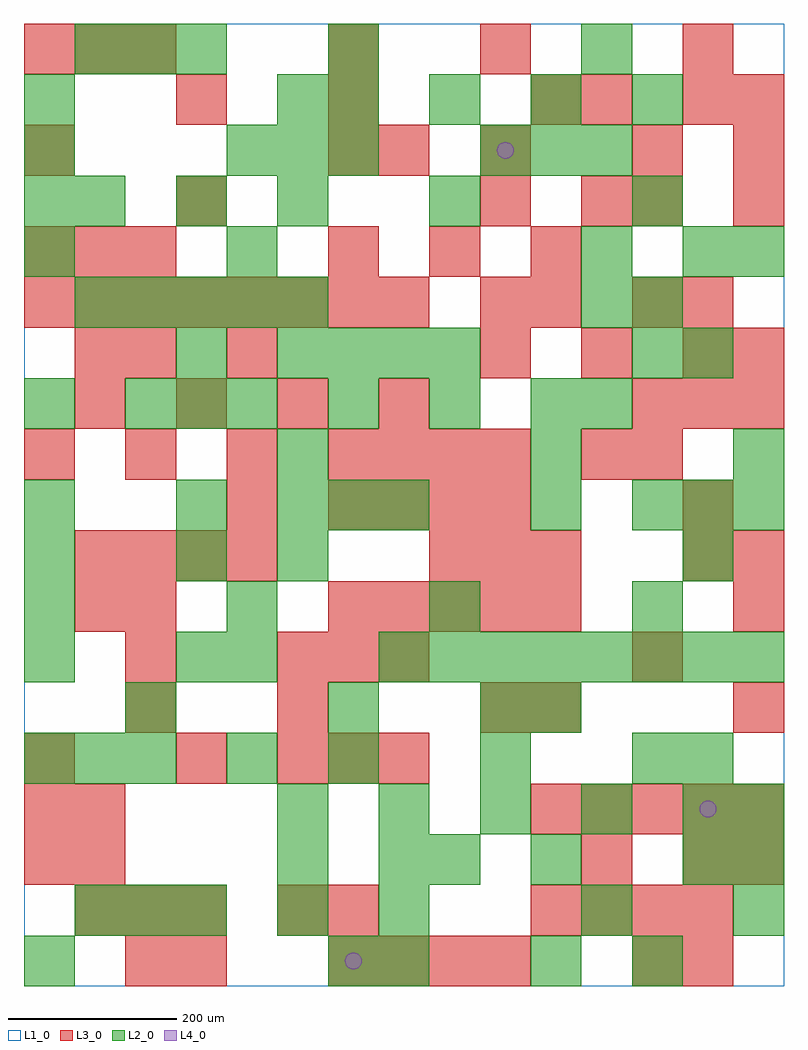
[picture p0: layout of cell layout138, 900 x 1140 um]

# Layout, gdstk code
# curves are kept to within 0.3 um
import gdstk
lib = gdstk.Library(unit=1e-6, precision=1e-09)
def R(c, l, rs):  # rectangles x0, y0, x1, y1
    for r in rs: c.add(gdstk.rectangle(r[:2], r[2:], *l))
def A(c, l, x, y, w, h, nx, ny, dx, dy):  # array of equal rectangles
    R(c, l, [(x+i*dx, y+j*dy, x+i*dx+w, y+j*dy+h) for i in range(nx) for j in range(ny)])
def P(c, l, *ps):  # polygons
    for p in ps: c.add(gdstk.Polygon(p, *l))
L1_0 = (1, 0)
L2_0 = (2, 0)
L3_0 = (3, 0)
L4_0 = (4, 0)

layout138 = lib.new_cell('layout138')
R(layout138, L1_0, [(0,0,900,1140)])
A(layout138, L2_0, 420, 0, 60, 60, 1, 3, 0, 60)
A(layout138, L2_0, 60, 60, 60, 60, 3, 2, 60, 1020)
A(layout138, L2_0, 840, 60, 60, 60, 1, 3, 0, 60)
A(layout138, L2_0, 300, 180, 60, 60, 5, 1, 120, 0)
A(layout138, L2_0, 0, 240, 60, 60, 3, 1, 60, 0)
A(layout138, L2_0, 360, 240, 60, 60, 3, 1, 180, 0)
A(layout138, L2_0, 780, 240, 60, 60, 1, 3, 0, 240)
A(layout138, L2_0, 420, 360, 60, 60, 8, 1, 60, 0)
A(layout138, L2_0, 0, 420, 60, 60, 4, 1, 240, 0)
A(layout138, L2_0, 300, 540, 60, 60, 3, 1, 60, 0)
A(layout138, L2_0, 720, 540, 60, 60, 3, 1, 60, 0)
A(layout138, L2_0, 120, 660, 60, 60, 3, 1, 60, 0)
A(layout138, L2_0, 360, 660, 60, 60, 3, 1, 120, 0)
A(layout138, L2_0, 300, 720, 60, 60, 4, 1, 60, 0)
A(layout138, L2_0, 60, 780, 60, 60, 5, 1, 60, 0)
A(layout138, L2_0, 0, 840, 60, 60, 1, 4, 0, 60)
A(layout138, L2_0, 60, 900, 60, 60, 3, 1, 120, 0)
A(layout138, L2_0, 240, 960, 60, 60, 3, 1, 60, 0)
A(layout138, L2_0, 540, 960, 60, 60, 3, 1, 60, 0)
A(layout138, L2_0, 360, 1020, 60, 60, 4, 1, 120, 0)
R(layout138, L2_0, [(0,0,60,60), (360,0,420,60), (600,0,660,60), (720,0,780,60), (300,60,360,120), (660,60,720,120), (300,120,360,180), (480,120,540,180), (600,120,660,180), (780,120,840,180), (240,240,300,300), (120,300,180,360), (360,300,420,360), (540,300,600,360), (600,300,660,360), (0,360,60,420), (180,360,240,420), (240,360,300,420), (0,480,60,540), (180,480,240,540), (300,480,360,540), (0,540,60,600), (180,540,240,600), (600,540,660,600), (300,600,360,660), (600,600,660,660), (840,600,900,660), (0,660,60,720), (660,660,720,720), (180,720,240,780), (720,720,780,780), (660,780,720,840), (720,780,780,840), (240,840,300,900), (660,840,720,900), (780,840,840,900), (840,840,900,900), (480,900,540,960), (720,900,780,960), (300,1020,360,1080), (360,1080,420,1140), (660,1080,720,1140)])
A(layout138, L3_0, 360, 0, 60, 60, 4, 2, 60, 540)
A(layout138, L3_0, 60, 60, 60, 60, 3, 1, 60, 0)
A(layout138, L3_0, 600, 60, 60, 60, 4, 1, 60, 0)
A(layout138, L3_0, 0, 120, 60, 60, 1, 3, 0, 60)
A(layout138, L3_0, 600, 180, 60, 60, 5, 1, 60, 0)
A(layout138, L3_0, 300, 240, 60, 60, 3, 2, 60, 120)
A(layout138, L3_0, 120, 300, 60, 60, 1, 3, 0, 60)
A(layout138, L3_0, 360, 420, 60, 60, 5, 1, 60, 0)
A(layout138, L3_0, 60, 480, 60, 60, 4, 1, 60, 0)
A(layout138, L3_0, 480, 480, 60, 60, 3, 1, 60, 0)
A(layout138, L3_0, 780, 540, 60, 60, 1, 3, 0, 240)
A(layout138, L3_0, 0, 600, 60, 60, 4, 1, 120, 0)
A(layout138, L3_0, 420, 600, 60, 60, 3, 1, 60, 0)
A(layout138, L3_0, 60, 660, 60, 60, 4, 1, 120, 0)
A(layout138, L3_0, 720, 660, 60, 60, 3, 1, 60, 0)
A(layout138, L3_0, 540, 720, 60, 60, 3, 1, 120, 0)
A(layout138, L3_0, 0, 780, 60, 60, 8, 1, 60, 0)
A(layout138, L3_0, 0, 840, 60, 60, 3, 2, 60, 240)
A(layout138, L3_0, 360, 840, 60, 60, 3, 1, 120, 0)
A(layout138, L3_0, 840, 900, 60, 60, 1, 3, 0, 60)
A(layout138, L3_0, 360, 960, 60, 60, 1, 3, 0, 60)
R(layout138, L3_0, [(120,0,180,60), (180,0,240,60), (720,0,780,60), (780,0,840,60), (300,60,360,120), (360,60,420,120), (60,120,120,180), (660,120,720,180), (780,120,840,180), (840,120,900,180), (60,180,120,240), (180,240,240,300), (300,300,360,360), (540,300,600,360), (600,300,660,360), (840,300,900,360), (720,360,780,420), (60,420,120,480), (840,420,900,480), (780,480,840,540), (840,480,900,540), (240,540,300,600), (660,600,720,660), (720,600,780,660), (60,720,120,780), (120,720,180,780), (240,720,300,780), (840,720,900,780), (540,780,600,840), (600,780,660,840), (720,780,780,840), (180,900,240,960), (540,900,600,960), (660,900,720,960), (720,900,780,960), (0,960,60,1020), (420,960,480,1020), (540,960,600,1020), (720,960,780,1020), (180,1020,240,1080), (600,1020,660,1080), (660,1020,720,1080), (540,1080,600,1140), (780,1080,840,1140)])
P(layout138, L4_0, [(400,30),(399.239,33.827),(397.071,37.071),(393.827,39.239),(390,40),(386.173,39.239),(382.929,37.071),(380.761,33.827),(380,30),(380.761,26.173),(382.929,22.929),(386.173,20.761),(390,20),(393.827,20.761),(397.071,22.929),(399.239,26.173)],
  [(580,990),(579.239,993.827),(577.071,997.071),(573.827,999.239),(570,1000),(566.173,999.239),(562.929,997.071),(560.761,993.827),(560,990),(560.761,986.173),(562.929,982.929),(566.173,980.761),(570,980),(573.827,980.761),(577.071,982.929),(579.239,986.173)],
  [(820,210),(819.239,213.827),(817.071,217.071),(813.827,219.239),(810,220),(806.173,219.239),(802.929,217.071),(800.761,213.827),(800,210),(800.761,206.173),(802.929,202.929),(806.173,200.761),(810,200),(813.827,200.761),(817.071,202.929),(819.239,206.173)])

lib.write_gds('layout138.gds')
